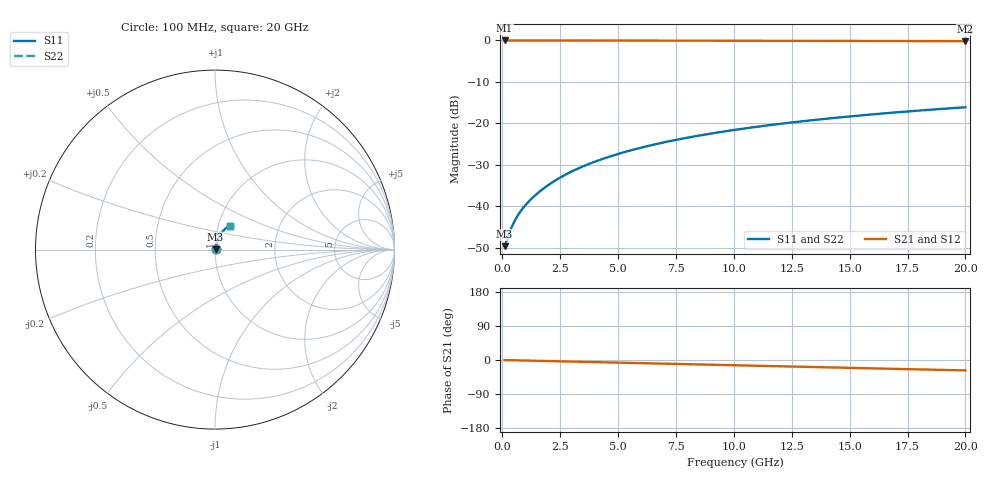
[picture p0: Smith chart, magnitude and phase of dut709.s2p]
! Touchstone file exported from HFSS 2026.1.0
!  File:  C:/ffzhzh/LocalFiles/Ansys_Project_Files/temp_train_TMRDL_709_1783154538_55132.aedt
!  Generated:  04:43:35 PM Jul  4, 2026
!  Design:  TMRDL
!  Project:  temp_train_TMRDL_709_1783154538_55132
! Variables:
!  h_bsmrdl = 2um
!  h_ox = 20um
!  h_rdl = 5um
!  h_sub = 80um
!  h_tmrdl = 2.25um
!  h_tsv = 80um
!  h_via = 3um
!  l_bsmrdl = 300um
!  l_sub = 840.19um
!  l_tmrdl = 440.19um
!  m_sub = 200um
!  pitch = 35.18um
!  r_tsv = 6um
!  s_tmrdl = 10um
!  w_bsmrdl = 18um
!  w_sub = 500um
!  w_tmrdl = 25.22um
!  x_tsv_center1 = 452.8um
!  x_tsv_center2 = 770.8um
!  x_tsv_center3 = 1236.21um
!  x_tsv_center4 = 1554.21um
!  x_tsv_center5 = 2019.62um
!  x_tsv_center6 = 2337.62um
# GHz S MA R 50.000000
! Terminal data exported
! Port[1] = TM_RDL1_1_T1
! Port[2] = TM_RDL1_1_T2
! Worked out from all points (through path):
!   200 points, 100 MHz to 20 GHz, reference 50 ohm
!   highest |S21| = -0.03 dB at 100 MHz (marker M1); lowest = -0.2 dB at 20 GHz (marker M2)
!   group delay of S21, straight-line fit = 3.81 ps
!   lowest |S11| = -49.6 dB at 100 MHz (marker M3), VSWR 1.01, Z = 50.3 + j0.114 ohm
!   |S11| at or under -10 dB: start of sweep to end of sweep
!   |S22| runs from -49.6 to -16.1 dB; largest |S21 - S12| = 8.2e-15
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0.1  0.003327 20.0  0.9969 -0.2  0.9969 -0.2  0.003327 20.0
! Gamma 0 0 0 0
! Port Impedance 50 0 50 0
0.3  0.004753 43.4  0.9966 -0.5  0.9966 -0.5  0.004753 43.4
0.4  0.005596 49.0  0.9964 -0.6  0.9964 -0.6  0.005596 49.0
0.5  0.006431 52.9  0.9962 -0.8  0.9962 -0.8  0.006431 52.9
0.6  0.007246 55.8  0.996 -0.9  0.996 -0.9  0.007246 55.8
0.7  0.008042 58.1  0.9959 -1.0  0.9959 -1.0  0.008042 58.1
0.9  0.009598 61.7  0.9956 -1.3  0.9956 -1.3  0.009598 61.7
1.2  0.01191 65.7  0.9954 -1.7  0.9954 -1.7  0.01191 65.7
1.7  0.01583 70.0  0.9951 -2.4  0.9951 -2.4  0.01583 70.0
2.2  0.01984 72.5  0.9949 -3.1  0.9949 -3.1  0.01984 72.5
2.8  0.02473 74.3  0.9947 -4.0  0.9947 -4.0  0.02474 74.3
3.5  0.03049 75.3  0.9944 -4.9  0.9944 -4.9  0.03049 75.3
4.2  0.03627 75.6  0.994 -5.9  0.994 -5.9  0.03628 75.6
5  0.04288 75.6  0.9936 -7.0  0.9936 -7.0  0.04288 75.6
5.9  0.05028 75.1  0.993 -8.3  0.993 -8.3  0.05028 75.1
6.8  0.05764 74.5  0.9923 -9.5  0.9923 -9.5  0.05764 74.5
8.3  0.06977 73.1  0.9911 -11.6  0.9911 -11.6  0.06977 73.1
10.1  0.08406 71.1  0.9894 -14.1  0.9894 -14.1  0.08407 71.1
11.7  0.09651 69.2  0.9877 -16.3  0.9877 -16.3  0.09651 69.2
13.4  0.1094 67.1  0.9857 -18.6  0.9857 -18.6  0.1094 67.1
16.7  0.1336 63.0  0.9816 -23.1  0.9816 -23.1  0.1336 62.9
20  0.1565 58.8  0.9773 -27.5  0.9773 -27.5  0.1565 58.8
